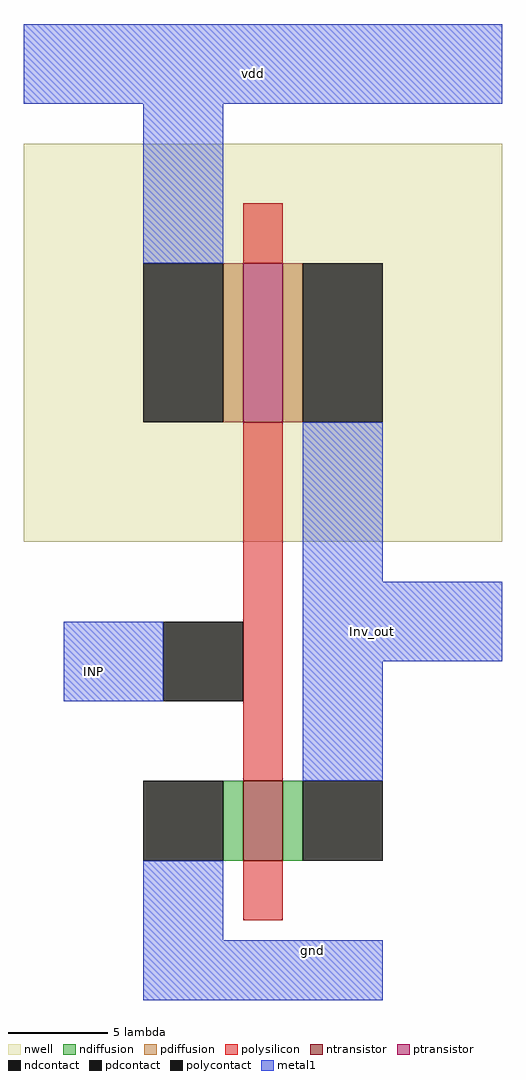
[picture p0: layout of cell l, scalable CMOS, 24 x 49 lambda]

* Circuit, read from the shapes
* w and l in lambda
.subckt l INP Inv_out gnd vdd
M1 Inv_out INP gnd VSUBS nfet w=4 l=2
M2 Inv_out INP vdd n1 pfet w=8 l=2
.ends

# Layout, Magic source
magic
tech scmos
<< nwell >>
rect 0 0 24 20
<< ntransistor >>
rect 11 -16 13 -12
<< ptransistor >>
rect 11 6 13 14
<< ndiffusion >>
rect 10 -16 11 -12
rect 13 -16 14 -12
<< pdiffusion >>
rect 10 6 11 14
rect 13 6 14 14
<< ndcontact >>
rect 6 -16 10 -12
rect 14 -16 18 -12
<< pdcontact >>
rect 6 6 10 14
rect 14 6 18 14
<< polysilicon >>
rect 11 14 13 17
rect 11 -12 13 6
rect 11 -19 13 -16
<< polycontact >>
rect 7 -8 11 -4
<< metal1 >>
rect 0 22 24 26
rect 6 14 10 22
rect 14 -2 18 6
rect 2 -8 7 -4
rect 14 -6 24 -2
rect 14 -12 18 -6
rect 6 -20 10 -16
rect 6 -23 18 -20
<< labels >>
rlabel metal1 3 -7 4 -6 3 INP
rlabel metal1 17 -5 18 -4 1 Inv_out
rlabel metal1 14 -21 15 -20 1 gnd
rlabel metal1 11 23 12 24 5 vdd
<< end >>
